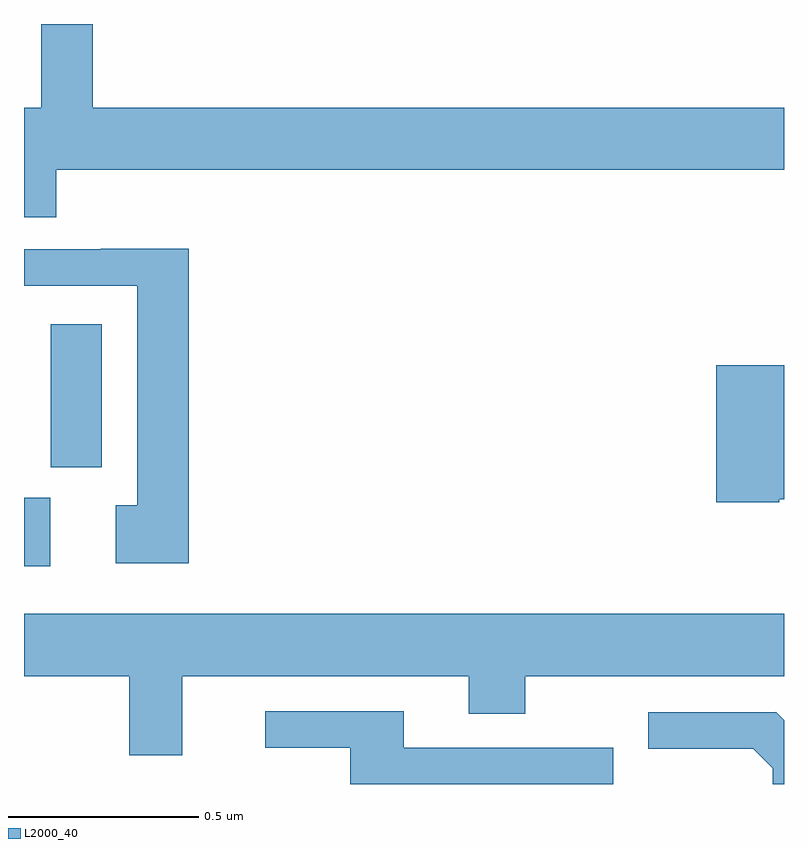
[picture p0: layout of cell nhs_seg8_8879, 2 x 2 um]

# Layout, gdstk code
import gdstk
lib = gdstk.Library(unit=1e-6, precision=1e-09)
def R(c, l, rs):  # rectangles x0, y0, x1, y1
    for r in rs: c.add(gdstk.rectangle(r[:2], r[2:], *l))
def P(c, l, *ps):  # polygons
    for p in ps: c.add(gdstk.Polygon(p, *l))
L2000_40 = (2000, 40)

nhs_seg8_8879 = lib.new_cell('nhs_seg8_8879')
R(nhs_seg8_8879, L2000_40, [(229,1099.473,229.069,1099.653), (229.07,1099.734,229.204,1100.11)])
P(nhs_seg8_8879, L2000_40, [(229.085,1100.516),(231,1100.516),(231,1100.68),(229.181,1100.68),(229.181,1100.9),(229.045,1100.9),(229.045,1100.68),(229,1100.68),(229,1100.392),(229.085,1100.392)],
  [(229.433,1100.309),(229.202,1100.309),(229.202,1100.307),(229,1100.307),(229,1100.211),(229.298,1100.211),(229.298,1099.634),(229.242,1099.634),(229.242,1099.481),(229.433,1099.481)],
  [(230.988,1099.65),(231,1099.65),(231,1100.002),(230.822,1100.002),(230.822,1099.642),(230.988,1099.642)],
  [(229.417,1099.184),(230.171,1099.184),(230.171,1099.085),(230.319,1099.085),(230.319,1099.184),(231,1099.184),(231,1099.348),(229,1099.348),(229,1099.184),(229.277,1099.184),(229.277,1098.976),(229.417,1098.976)],
  [(230.55,1098.996),(229.999,1098.996),(229.999,1099.092),(229.635,1099.092),(229.635,1098.996),(229.859,1098.996),(229.859,1098.9),(230.55,1098.9)],
  [(231,1099.068),(230.979,1099.089),(230.643,1099.089),(230.643,1098.993),(230.919,1098.993),(230.97,1098.942),(230.97,1098.9),(231,1098.9)])

lib.write_gds('nhs_seg8_8879.gds')
